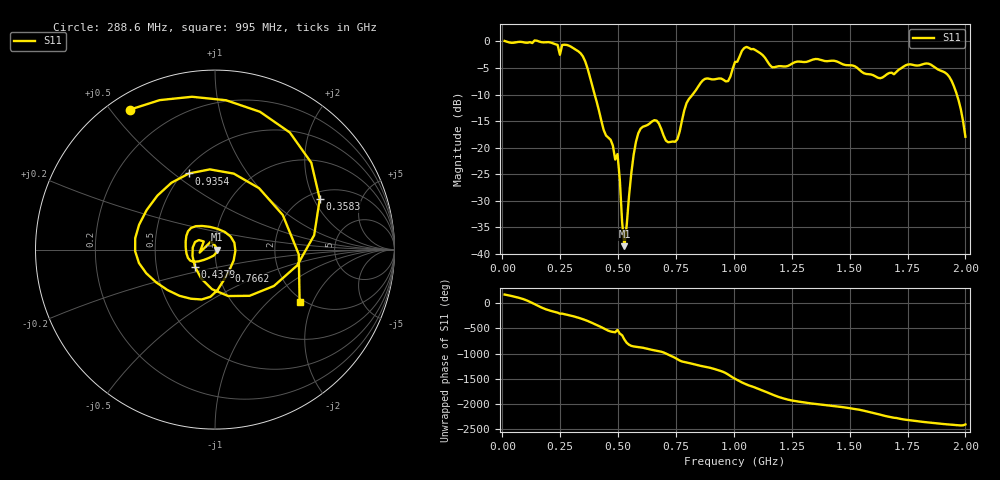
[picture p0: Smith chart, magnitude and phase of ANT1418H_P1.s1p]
!Created with skrf (http://scikit-rf.org).
# Hz S RI R 50.0
!freq ReS11 ImS11
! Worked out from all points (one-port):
!   201 points, 10 MHz to 2 GHz, reference 50 ohm
!   lowest |S11| = -38.5 dB at 527.4 MHz (marker M1), VSWR 1.02, Z = 51.2 - j0.000317 ohm
!   |S11| at or under -10 dB: 399 MHz to 821.8 MHz (422.8 MHz wide, 69.3 % of centre); 1.963 GHz to end of sweep
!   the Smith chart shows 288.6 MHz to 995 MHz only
!   S11 on the Smith chart (normalised r, x): 288.6 MHz: 0.06, +0.56; 358.2 MHz: 2.29, +2.23; 437.9 MHz: 0.79, -0.15; 766.2 MHz: 1.13, -0.28; 935.4 MHz: 0.54, +0.57; 995 MHz: 1.90, -1.60
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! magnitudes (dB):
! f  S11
! 10 MHz  0.1
! 258.8 MHz  -0.6
! 288.6 MHz  -0.8
! 358.2 MHz  -3.8
! 437.9 MHz  -16.7
! 497.6 MHz  -21.2
! 507.5 MHz  -26.0
! 527.4 MHz  -38.5
! 567.2 MHz  -21.4
! 597 MHz  -16.4
! 666.7 MHz  -14.9
! 706.5 MHz  -18.7
! 756.2 MHz  -18.4
! 766.2 MHz  -16.9
! 796 MHz  -11.6
! 855.8 MHz  -7.9
! 935.4 MHz  -7.0
! 995 MHz  -5.1
! 1.005 GHz  -3.9
! 1.055 GHz  -1.0
! 1.164 GHz  -4.8
! 1.254 GHz  -4.1
! 1.502 GHz  -4.5
! 1.632 GHz  -6.9
! 1.751 GHz  -4.3
! 1.93 GHz  -6.6
! 1.97 GHz  -11.0
! 2 GHz  -17.9
